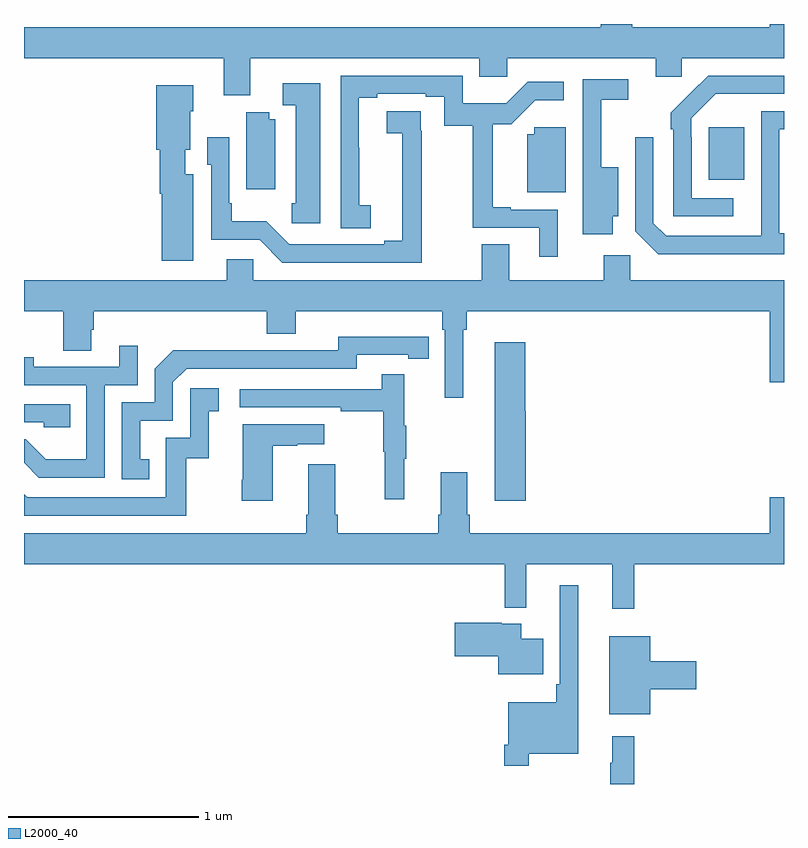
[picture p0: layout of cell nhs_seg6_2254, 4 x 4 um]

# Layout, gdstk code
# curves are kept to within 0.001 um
import gdstk
lib = gdstk.Library(unit=1e-6, precision=1e-09)
def R(c, l, rs):  # rectangles x0, y0, x1, y1
    for r in rs: c.add(gdstk.rectangle(r[:2], r[2:], *l))
def P(c, l, *ps):  # polygons
    for p in ps: c.add(gdstk.Polygon(p, *l))
L2000_40 = (2000, 40)

nhs_seg6_2254 = lib.new_cell('nhs_seg6_2254')
R(nhs_seg6_2254, L2000_40, [(248.603,962.681,248.791,962.956)])
P(nhs_seg6_2254, L2000_40, [(245,963.32),(246.05,963.32),(246.05,963.126),(246.19,963.126),(246.19,963.32),(247.397,963.32),(247.397,963.222),(247.544,963.222),(247.544,963.32),(248.324,963.32),(248.324,963.222),(248.463,963.222),(248.463,963.32),(249,963.32),(249,963.5),(248.924,963.5),(248.924,963.484),(248.2,963.484),(248.2,963.5),(248.036,963.5),(248.036,963.484),(245,963.484)],
  [(247.81,962.523),(247.561,962.523),(247.561,962.536),(247.466,962.536),(247.466,962.973),(247.565,962.973),(247.691,963.098),(247.84,963.098),(247.84,963.195),(247.65,963.195),(247.537,963.082),(247.308,963.082),(247.308,963.228),(246.666,963.228),(246.666,962.425),(246.826,962.425),(246.826,962.545),(246.765,962.545),(246.765,962.849),(246.763,962.849),(246.763,963.112),(246.859,963.112),(246.859,963.132),(247.115,963.132),(247.115,963.118),(247.212,963.118),(247.212,962.965),(247.363,962.965),(247.363,962.427),(247.712,962.427),(247.712,962.274),(247.81,962.274)],
  [(248.734,962.583),(248.514,962.583),(248.514,962.903),(248.511,962.903),(248.511,963.003),(248.64,963.132),(249,963.132),(249,963.228),(248.6,963.228),(248.403,963.033),(248.403,962.945),(248.418,962.945),(248.418,962.487),(248.734,962.487)],
  [(248.098,962.489),(248.128,962.489),(248.128,962.746),(248.039,962.746),(248.039,963.102),(248.179,963.102),(248.179,963.21),(247.941,963.21),(247.941,962.619),(247.94,962.619),(247.94,962.394),(248.098,962.394)],
  [(246.559,963.187),(246.363,963.187),(246.363,963.072),(246.431,963.072),(246.431,962.556),(246.409,962.556),(246.409,962.451),(246.559,962.451)],
  [(245.89,962.71),(245.848,962.71),(245.848,962.838),(245.874,962.838),(245.874,963.042),(245.89,963.042),(245.89,963.178),(245.696,963.178),(245.696,962.838),(245.714,962.838),(245.714,962.606),(245.726,962.606),(245.726,962.253),(245.89,962.253)],
  [(249,962.398),(248.976,962.398),(248.976,962.946),(249,962.946),(249,963.042),(248.88,963.042),(248.879,962.385),(248.379,962.385),(248.313,962.451),(248.313,962.905),(248.217,962.905),(248.217,962.409),(248.338,962.288),(249,962.288)],
  [(247.094,962.939),(247.088,962.939),(247.088,963.041),(246.909,963.041),(246.909,962.926),(246.991,962.926),(246.992,962.36),(246.896,962.36),(246.896,962.34),(246.396,962.34),(246.275,962.461),(246.094,962.461),(246.094,962.557),(246.081,962.557),(246.081,962.905),(245.964,962.905),(245.964,962.76),(245.985,962.76),(245.985,962.364),(246.24,962.364),(246.36,962.244),(247.094,962.244)],
  [(246.322,962.998),(246.29,962.998),(246.29,963.035),(246.17,963.035),(246.17,962.631),(246.322,962.631)],
  [(247.852,962.956),(247.686,962.956),(247.686,962.92),(247.649,962.92),(247.649,962.615),(247.852,962.615)],
  [(245,961.988),(245.206,961.988),(245.206,961.78),(245.353,961.78),(245.353,961.89),(245.366,961.89),(245.366,961.988),(246.278,961.988),(246.278,961.871),(246.43,961.871),(246.43,961.988),(247.202,961.988),(247.202,961.892),(247.215,961.892),(247.215,961.533),(247.312,961.533),(247.312,961.892),(247.331,961.892),(247.331,961.988),(248.924,961.988),(248.924,961.614),(249,961.614),(249,962.152),(248.19,962.152),(248.19,962.284),(248.051,962.284),(248.051,962.152),(247.555,962.152),(247.555,962.342),(247.408,962.342),(247.408,962.152),(246.207,962.152),(246.207,962.262),(246.068,962.262),(246.068,962.152),(245,962.152)],
  [(245.66,961.209),(245.611,961.209),(245.611,961.413),(245.784,961.413),(245.784,961.614),(245.856,961.686),(246.75,961.686),(246.75,961.758),(247.022,961.758),(247.022,961.738),(247.13,961.738),(247.13,961.854),(246.654,961.855),(246.654,961.782),(246.194,961.782),(246.194,961.784),(245.786,961.784),(245.688,961.686),(245.688,961.509),(245.514,961.509),(245.514,961.104),(245.66,961.104)],
  [(247.642,961.461),(247.637,961.461),(247.637,961.825),(247.478,961.825),(247.478,960.99),(247.642,960.99)],
  [(245.424,961.599),(245.598,961.599),(245.598,961.807),(245.501,961.807),(245.501,961.695),(245.05,961.695),(245.05,961.747),(245,961.747),(245,961.599),(245.328,961.599),(245.328,961.21),(245.114,961.21),(245.01,961.314),(245,961.314),(245,961.191),(245.078,961.113),(245.424,961.113)],
  [(247.001,961.211),(247.012,961.211),(247.012,961.385),(247.001,961.385),(247.001,961.657),(246.883,961.657),(246.883,961.578),(246.135,961.578),(246.135,961.482),(246.667,961.482),(246.667,961.462),(246.891,961.462),(246.891,961.248),(246.898,961.248),(246.898,960.999),(247.001,960.999)],
  [(245.854,961.215),(245.972,961.215),(245.972,961.461),(246.025,961.461),(246.025,961.582),(245.874,961.582),(245.874,961.323),(245.745,961.323),(245.745,961.008),(245.016,961.008),(245,961.024),(245,960.912),(245.854,960.912)],
  [(245.243,961.5),(245,961.5),(245,961.404),(245.103,961.404),(245.103,961.377),(245.243,961.377)],
  [(246.31,961.279),(246.437,961.279),(246.437,961.289),(246.58,961.289),(246.58,961.393),(246.152,961.393),(246.152,961.102),(246.145,961.102),(246.145,960.99),(246.31,960.99)],
  [(248.213,960.656),(249,960.656),(249,961.009),(248.924,961.009),(248.924,960.82),(247.346,960.82),(247.346,960.916),(247.333,960.916),(247.333,961.141),(247.193,961.141),(247.193,960.916),(247.181,960.916),(247.181,960.82),(246.65,960.82),(246.65,960.916),(246.637,960.916),(246.637,961.183),(246.497,961.183),(246.497,960.916),(246.485,960.916),(246.485,960.82),(245,960.82),(245,960.656),(247.529,960.656),(247.529,960.428),(247.643,960.428),(247.643,960.656),(248.096,960.656),(248.096,960.423),(248.213,960.423)],
  [(247.657,959.66),(247.918,959.66),(247.918,960.547),(247.821,960.547),(247.821,960.025),(247.801,960.025),(247.801,959.929),(247.548,959.929),(247.548,959.707),(247.528,959.707),(247.528,959.595),(247.657,959.595)],
  [(247.732,960.265),(247.618,960.265),(247.618,960.343),(247.514,960.343),(247.514,960.348),(247.266,960.348),(247.266,960.173),(247.496,960.173),(247.496,960.077),(247.732,960.077)],
  [(248.296,959.999),(248.539,959.999),(248.539,960.146),(248.296,960.146),(248.296,960.277),(248.081,960.277),(248.081,959.867),(248.296,959.867)],
  [(248.213,959.752),(248.096,959.752),(248.096,959.612),(248.085,959.612),(248.085,959.5),(248.213,959.5)])

lib.write_gds('nhs_seg6_2254.gds')
